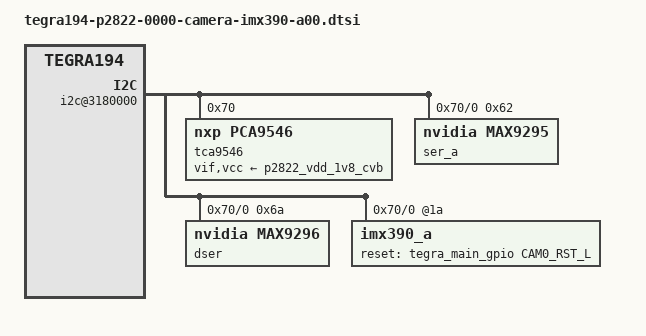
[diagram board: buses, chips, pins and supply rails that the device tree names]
/*
 * Copyright (c) 2018, NVIDIA CORPORATION.  All rights reserved.
 *
 * This program is free software; you can redistribute it and/or modify
 * it under the terms of the GNU General Public License as published by
 * the Free Software Foundation; either version 2 of the License, or
 * (at your option) any later version.
 *
 * This program is distributed in the hope that it will be useful, but WITHOUT
 * ANY WARRANTY; without even the implied warranty of MERCHANTABILITY or
 * FITNESS FOR A PARTICULAR PURPOSE.  See the GNU General Public License for
 * more details.
 *
 * You should have received a copy of the GNU General Public License
 * along with this program.  If not, see <http://www.gnu.org/licenses/>.
 */
#include <t19x-common-modules/tegra194-camera-imx390-a00.dtsi>
#include "dt-bindings/clock/tegra194-clock.h"

#define CAM0_RST_L	TEGRA194_MAIN_GPIO(H, 4)
#define CAMERA_I2C_MUX_BUS(x) (0x1E + x)

/* camera control gpio definitions */

/ {
	i2c@3180000 {
		tca9546@70 {
			compatible = "nxp,pca9546";
			reg = <0x70>;
			#address-cells = <1>;
			#size-cells = <0>;
			skip_mux_detect = "yes";
			vif-supply = <&p2822_vdd_1v8_cvb>;
			vcc-supply = <&p2822_vdd_1v8_cvb>;
			vcc_lp = "vcc";
			force_bus_start = <CAMERA_I2C_MUX_BUS(0)>;

			i2c@0 {
				reg = <0>;
				i2c-mux,deselect-on-exit;
				#address-cells = <1>;
				#size-cells = <0>;
				ser_a: max9295_a@62 {
					compatible = "nvidia,max9295";
					reg = <0x62>;
				};
				dser: max9296@6a {
					compatible = "nvidia,max9296";
					reg = <0x6a>;
				};

				imx390_a@1a {
					/* Define any required hw resources needed by driver */
					/* ie. clocks, io pins, power sources */
					clocks = <&bpmp_clks TEGRA194_CLK_EXTPERIPH1>,
							<&bpmp_clks TEGRA194_CLK_EXTPERIPH1>;
					clock-names = "extperiph1", "pllp_grtba";
					mclk = "extperiph1";
					reset-gpios = <&tegra_main_gpio CAM0_RST_L GPIO_ACTIVE_HIGH>;
					nvidia,gmsl-ser-device = <&ser_a>;
					nvidia,gmsl-dser-device = <&dser>;
				};
			};
		};
	};
};
